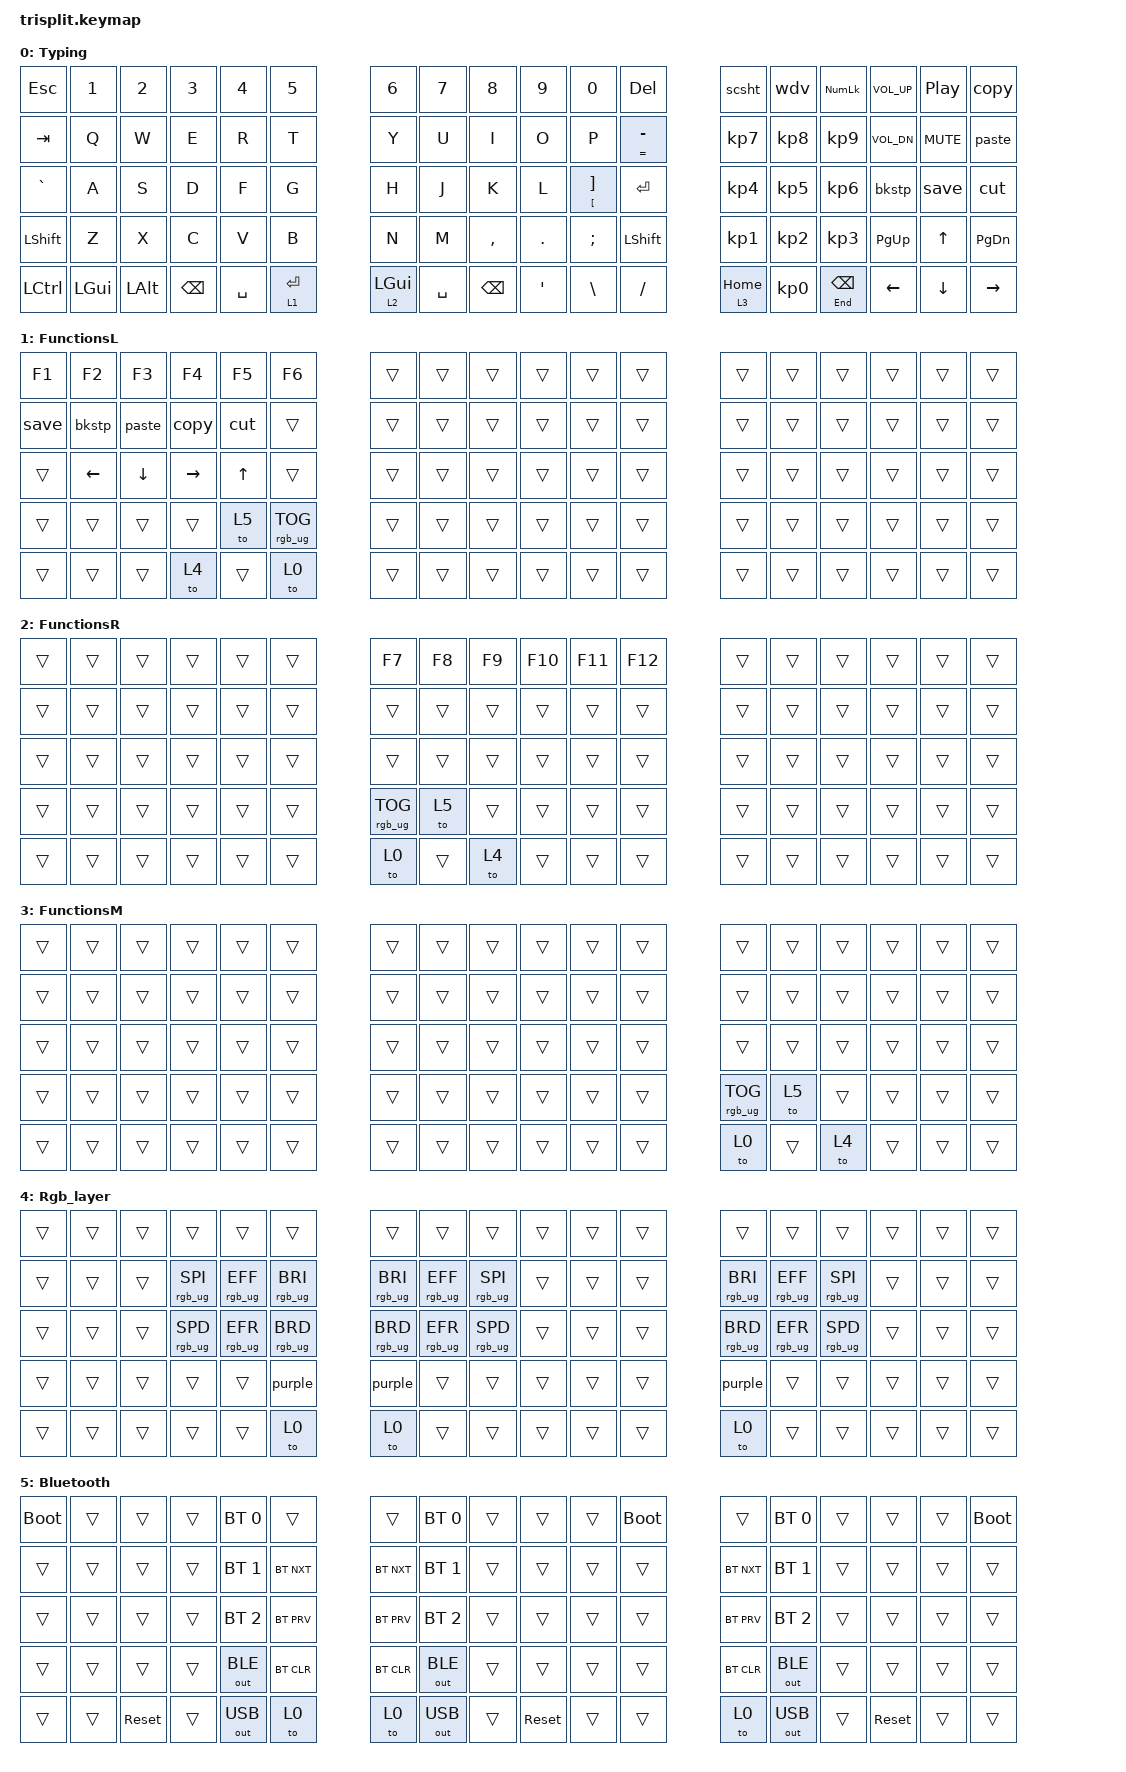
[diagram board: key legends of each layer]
// This file was generated from a template. Edit it to match your keyboard.
// See https://zmk.dev/docs/development/hardware-integration/new-shield for more instructions.
    // Define a default keymap here.
    // See https://zmk.dev/docs/development/hardware-integration/new-shield#default-keymap.
#include <behaviors.dtsi>
#include <dt-bindings/zmk/keys.h>
#include <dt-bindings/zmk/rgb.h>
#include <dt-bindings/zmk/bt.h>
#include <dt-bindings/zmk/outputs.h>
#include <dt-bindings/led/led.h>

#define DEFAULT 0

&pinctrl {
    spi3_default: spi3_default {
        group1 {
            psels = <NRF_PSEL(SPIM_MOSI, 0, 8)>;
        };
    };

    spi3_sleep: spi3_sleep {
        group1 {
            psels = <NRF_PSEL(SPIM_MOSI, 0, 8)>;
            low-power-enable;
        };
    };
};
&spi3 {
    compatible = "nordic,nrf-spim";
    status = "okay";
    pinctrl-0 = <&spi3_default>;
    pinctrl-1 = <&spi3_sleep>;
    pinctrl-names = "default", "sleep";

    led_strip: ws2812@0 {
        compatible = "worldsemi,ws2812-spi";

        /* SPI */
        reg = <0>; /* ignored, but necessary for SPI bindings */
        spi-max-frequency = <4000000>;

        /* WS2812 */
        chain-length = <30>; /* number of LEDs */
        spi-one-frame = <0x70>;
        spi-zero-frame = <0x40>;
        color-mapping = <LED_COLOR_ID_GREEN
                         LED_COLOR_ID_RED
                         LED_COLOR_ID_BLUE>;
    };
};

&lt {
    tapping-term-ms = <250>;
};
&led_strip {
    chain-length = <30>;
};
&mt {
tapping-term-ms = <250>;
};

/ {
    macros {
        scsht: scsht {
            compatible = "zmk,behavior-macro";
            #binding-cells = <0>;
            bindings
                = <&macro_press &kp LGUI>
                , <&macro_press &kp LSHFT>
                , <&macro_tap &kp S>
                , <&macro_release &kp LSHFT>
                , <&macro_release &kp LGUI>
                ;
        };
        wdv: wdv {
            compatible = "zmk,behavior-macro";
            #binding-cells = <0>;
            bindings
                = <&macro_press &kp LGUI>
                , <&macro_tap &kp W>
                , <&macro_release &kp LGUI>
                ;
        };
        copy: copy {
            compatible = "zmk,behavior-macro";
            #binding-cells = <0>;
            bindings
                = <&macro_press &kp LCTRL>
                , <&macro_tap &kp C>
                , <&macro_release &kp LCTRL>
                ;
        };
        paste: paste {
            compatible = "zmk,behavior-macro";
            #binding-cells = <0>;
            bindings
                = <&macro_press &kp LCTRL>
                , <&macro_tap &kp V>
                , <&macro_release &kp LCTRL>
                ;
        };
        cut: cut {
            compatible = "zmk,behavior-macro";
            #binding-cells = <0>;
            bindings
                = <&macro_press &kp LCTRL>
                , <&macro_tap &kp X>
                , <&macro_release &kp LCTRL>
                ;
        };
        save: save {
            compatible = "zmk,behavior-macro";
            #binding-cells = <0>;
            bindings
                = <&macro_press &kp LCTRL>
                , <&macro_tap &kp S>
                , <&macro_release &kp LCTRL>
                ;
        };
        bkstp: bkstp {
            compatible = "zmk,behavior-macro";
            #binding-cells = <0>;
            bindings
                = <&macro_press &kp LCTRL>
                , <&macro_tap &kp Z>
                , <&macro_release &kp LCTRL>
                ;
        };
        purple: purple {
            compatible = "zmk,behavior-macro";
            #binding-cells = <0>;
            bindings
                = <&macro_tap &rgb_ug RGB_COLOR_HSB(275, 100, 2)>
                ;
        };
    };

    keymap {
        compatible = "zmk,keymap";
        default_layer {//  layer0
            display-name = "Typing";
            bindings = < 
            //  LKey 1          |LKey 2         |LKey 3         |LKey 4         |LKey 5         |LKey 6         |RKey 1         |RKey 2         |RKey 3         |RKey 4         |RKey 5         |RKey 6         |MKey 1         |MKey 2         |MKey 3         |MKey 4         |MKey 5         |MKey 6
                &kp ESC         &kp N1          &kp N2          &kp N3          &kp N4          &kp N5          &kp N6          &kp N7          &kp N8          &kp N9          &kp N0          &kp DEL         &scsht          &wdv            &kp KP_NLCK     &kp C_VOL_UP    &kp C_PP        &copy
            //  LKey 7          |LKey 8         |LKey 9         |LKey 10        |LKey 11        |LKey 12        |RKey 7         |RKey 8         |RKey 9         |RKey 10        |RKey 11        |RKey 12        |MKey 7         |MKey 8         |MKey 9         |MKey 10        |MKey 11        |MKey 12
                &kp TAB         &kp Q           &kp W           &kp E           &kp R           &kp T           &kp Y           &kp U           &kp I           &kp O           &kp P           &mt EQUAL MINUS &kp KP_N7       &kp KP_N8       &kp KP_N9       &kp C_VOL_DN    &kp C_MUTE      &paste
            //  LKey 13         |LKey 14        |LKey 15        |LKey 16        |LKey 17        |LKey 18        |RKey 13        |RKey 14        |RKey 15        |RKey 16        |RKey 17        |RKey 18        |MKey 13        |MKey 14        |MKey 15        |MKey 16        |MKey 17        |MKey 18
                &kp GRAVE       &kp A           &kp S           &kp D           &kp F           &kp G           &kp H           &kp J           &kp K           &kp L           &mt LBKT RBKT   &kp ENTER       &kp KP_N4       &kp KP_N5       &kp KP_N6       &bkstp          &save           &cut
            //  LKey 19         |LKey 20        |LKey 21        |LKey 22        |LKey 23        |LKey 24        |RKey 19        |RKey 20        |RKey 21        |RKey 22        |RKey 23        |RKey 24        |MKey 19        |MKey 20        |MKey 21        |MKey 22        |MKey 23        |MKey 24
                &kp LSHIFT      &kp Z           &kp X           &kp C           &kp V           &kp B           &kp N           &kp M           &kp COMMA       &kp DOT         &kp SEMICOLON   &kp LSHIFT      &kp KP_N1       &kp KP_N2       &kp KP_N3       &kp PG_UP       &kp UP          &kp PG_DN
            //  LKey 25         |LKey 26        |LKey 27        |LKey 28        |LKey 29        |LKey 30        |RKey 25        |RKey 26        |RKey 27        |RKey 28        |RKey 29        |RKey 30        |MKey 25        |MKey 26        |MKey 27        |MKey 28        |MKey 29        |MKey 30 
                &kp LCTRL       &kp LEFT_GUI    &kp LEFT_ALT    &kp BACKSPACE   &kp SPACE       &lt 1 ENTER     &lt 2 LEFT_GUI  &kp SPACE       &kp BACKSPACE   &kp APOS        &kp BACKSLASH   &kp SLASH       &lt 3 HOME      &kp KP_N0     &mt END BACKSPACE &kp LEFT        &kp DOWN        &kp RIGHT
            >;
        };
        FunctionL_layer {//  layer1
            display-name = "FunctionsL";
            bindings = < 
            //  LKey 1          |LKey 2         |LKey 3         |LKey 4         |LKey 5         |LKey 6         |RKey 1         |RKey 2         |RKey 3         |RKey 4         |RKey 5         |RKey 6         |MKey 1         |MKey 2         |MKey 3         |MKey 4         |MKey 5         |MKey 6
                &kp F1          &kp F2          &kp F3          &kp F4          &kp F5          &kp F6          &trans          &trans          &trans          &trans          &trans          &trans          &trans          &trans          &trans          &trans          &trans          &trans
            //  LKey 7          |LKey 8         |LKey 9         |LKey 10        |LKey 11        |LKey 12        |RKey 7         |RKey 8         |RKey 9         |RKey 10        |RKey 11        |RKey 12        |MKey 7         |MKey 8         |MKey 9         |MKey 10        |MKey 11        |MKey 12
                &save           &bkstp          &paste          &copy           &cut            &trans          &trans          &trans          &trans          &trans          &trans          &trans          &trans          &trans          &trans          &trans          &trans          &trans
            //  LKey 13         |LKey 14        |LKey 15        |LKey 16        |LKey 17        |LKey 18        |RKey 13        |RKey 14        |RKey 15        |RKey 16        |RKey 17        |RKey 18        |MKey 13        |MKey 14        |MKey 15        |MKey 16        |MKey 17        |MKey 18
                &trans          &kp LEFT        &kp DOWN        &kp RIGHT       &kp UP          &trans          &trans          &trans          &trans          &trans          &trans          &trans          &trans          &trans          &trans          &trans          &trans          &trans
            //  LKey 19         |LKey 20        |LKey 21        |LKey 22        |LKey 23        |LKey 24        |RKey 19        |RKey 20        |RKey 21        |RKey 22        |RKey 23        |RKey 24        |MKey 19        |MKey 20        |MKey 21        |MKey 22        |MKey 23        |MKey 24
                &trans          &trans          &trans          &trans          &to 5           &rgb_ug RGB_TOG &trans          &trans          &trans          &trans          &trans          &trans          &trans          &trans          &trans          &trans          &trans          &trans
            //  LKey 25         |LKey 26        |LKey 27        |LKey 28        |LKey 29        |LKey 30        |RKey 25        |RKey 26        |RKey 27        |RKey 28        |RKey 29        |RKey 30        |MKey 25        |MKey 26        |MKey 27        |MKey 28        |MKey 29        |MKey 30 
                &trans          &trans          &trans          &to 4           &trans          &to 0           &trans          &trans          &trans          &trans          &trans          &trans          &trans          &trans          &trans          &trans          &trans          &trans
            >;
        };
        FunctionR_layer {//  layer2
            display-name = "FunctionsR";
            bindings = < 
            //  LKey 1          |LKey 2         |LKey 3         |LKey 4         |LKey 5         |LKey 6         |RKey 1         |RKey 2         |RKey 3         |RKey 4         |RKey 5         |RKey 6         |MKey 1         |MKey 2         |MKey 3         |MKey 4         |MKey 5         |MKey 6
                &trans          &trans          &trans          &trans          &trans          &trans          &kp F7          &kp F8          &kp F9          &kp F10         &kp F11         &kp F12         &trans          &trans          &trans          &trans          &trans          &trans
            //  LKey 7          |LKey 8         |LKey 9         |LKey 10        |LKey 11        |LKey 12        |RKey 7         |RKey 8         |RKey 9         |RKey 10        |RKey 11        |RKey 12        |MKey 7         |MKey 8         |MKey 9         |MKey 10        |MKey 11        |MKey 12
                &trans          &trans          &trans          &trans          &trans          &trans          &trans          &trans          &trans          &trans          &trans          &trans          &trans          &trans          &trans          &trans          &trans          &trans
            //  LKey 13         |LKey 14        |LKey 15        |LKey 16        |LKey 17        |LKey 18        |RKey 13        |RKey 14        |RKey 15        |RKey 16        |RKey 17        |RKey 18        |MKey 13        |MKey 14        |MKey 15        |MKey 16        |MKey 17        |MKey 18
                &trans          &trans          &trans          &trans          &trans          &trans          &trans          &trans          &trans          &trans          &trans          &trans          &trans          &trans          &trans          &trans          &trans          &trans
            //  LKey 19         |LKey 20        |LKey 21        |LKey 22        |LKey 23        |LKey 24        |RKey 19        |RKey 20        |RKey 21        |RKey 22        |RKey 23        |RKey 24        |MKey 19        |MKey 20        |MKey 21        |MKey 22        |MKey 23        |MKey 24
                &trans          &trans          &trans          &trans          &trans          &trans          &rgb_ug RGB_TOG &to 5           &trans          &trans          &trans          &trans          &trans          &trans          &trans          &trans          &trans          &trans
            //  LKey 25         |LKey 26        |LKey 27        |LKey 28        |LKey 29        |LKey 30        |RKey 25        |RKey 26        |RKey 27        |RKey 28        |RKey 29        |RKey 30        |MKey 25        |MKey 26        |MKey 27        |MKey 28        |MKey 29        |MKey 30 
                &trans          &trans          &trans          &trans          &trans          &trans          &to 0           &trans          &to 4           &trans          &trans          &trans          &trans          &trans          &trans          &trans          &trans          &trans
            >;
        };
        FunctionM_layer {//  layer3
            display-name = "FunctionsM";
            bindings = < 
            //  LKey 1          |LKey 2         |LKey 3         |LKey 4         |LKey 5         |LKey 6         |RKey 1         |RKey 2         |RKey 3         |RKey 4         |RKey 5         |RKey 6         |MKey 1         |MKey 2         |MKey 3         |MKey 4         |MKey 5         |MKey 6
                &trans          &trans          &trans          &trans          &trans          &trans          &trans          &trans          &trans          &trans          &trans          &trans          &trans          &trans          &trans          &trans          &trans          &trans
            //  LKey 7          |LKey 8         |LKey 9         |LKey 10        |LKey 11        |LKey 12        |RKey 7         |RKey 8         |RKey 9         |RKey 10        |RKey 11        |RKey 12        |MKey 7         |MKey 8         |MKey 9         |MKey 10        |MKey 11        |MKey 12
                &trans          &trans          &trans          &trans          &trans          &trans          &trans          &trans          &trans          &trans          &trans          &trans          &trans          &trans          &trans          &trans          &trans          &trans
            //  LKey 13         |LKey 14        |LKey 15        |LKey 16        |LKey 17        |LKey 18        |RKey 13        |RKey 14        |RKey 15        |RKey 16        |RKey 17        |RKey 18        |MKey 13        |MKey 14        |MKey 15        |MKey 16        |MKey 17        |MKey 18
                &trans          &trans          &trans          &trans          &trans          &trans          &trans          &trans          &trans          &trans          &trans          &trans          &trans          &trans          &trans          &trans          &trans          &trans
            //  LKey 19         |LKey 20        |LKey 21        |LKey 22        |LKey 23        |LKey 24        |RKey 19        |RKey 20        |RKey 21        |RKey 22        |RKey 23        |RKey 24        |MKey 19        |MKey 20        |MKey 21        |MKey 22        |MKey 23        |MKey 24
                &trans          &trans          &trans          &trans          &trans          &trans          &trans          &trans          &trans          &trans          &trans          &trans          &rgb_ug RGB_TOG &to 5           &trans          &trans          &trans          &trans
            //  LKey 25         |LKey 26        |LKey 27        |LKey 28        |LKey 29        |LKey 30        |RKey 25        |RKey 26        |RKey 27        |RKey 28        |RKey 29        |RKey 30        |MKey 25        |MKey 26        |MKey 27        |MKey 28        |MKey 29        |MKey 30 
                &trans          &trans          &trans          &trans          &trans          &trans          &trans          &trans          &trans          &trans          &trans          &trans          &to 0           &trans          &to 4           &trans          &trans          &trans          
            >;
        };
        Rgb_layer {//  layer4
            display-name = "Rgb_layer";
            bindings = < 
            //  LKey 1          |LKey 2         |LKey 3         |LKey 4         |LKey 5         |LKey 6         |RKey 1         |RKey 2         |RKey 3         |RKey 4         |RKey 5         |RKey 6         |MKey 1         |MKey 2         |MKey 3         |MKey 4         |MKey 5         |MKey 6
                &trans          &trans          &trans          &trans          &trans          &trans          &trans          &trans          &trans          &trans          &trans          &trans          &trans          &trans          &trans          &trans          &trans          &trans
            //  LKey 7          |LKey 8         |LKey 9         |LKey 10        |LKey 11        |LKey 12        |RKey 7         |RKey 8         |RKey 9         |RKey 10        |RKey 11        |RKey 12        |MKey 7         |MKey 8         |MKey 9         |MKey 10        |MKey 11        |MKey 12
                &trans          &trans          &trans          &rgb_ug RGB_SPI &rgb_ug RGB_EFF &rgb_ug RGB_BRI &rgb_ug RGB_BRI &rgb_ug RGB_EFF &rgb_ug RGB_SPI &trans          &trans          &trans          &rgb_ug RGB_BRI &rgb_ug RGB_EFF &rgb_ug RGB_SPI &trans          &trans          &trans
            //  LKey 13         |LKey 14        |LKey 15        |LKey 16        |LKey 17        |LKey 18        |RKey 13        |RKey 14        |RKey 15        |RKey 16        |RKey 17        |RKey 18        |MKey 13        |MKey 14        |MKey 15        |MKey 16        |MKey 17        |MKey 18
                &trans          &trans          &trans          &rgb_ug RGB_SPD &rgb_ug RGB_EFR &rgb_ug RGB_BRD &rgb_ug RGB_BRD &rgb_ug RGB_EFR &rgb_ug RGB_SPD &trans          &trans          &trans          &rgb_ug RGB_BRD &rgb_ug RGB_EFR &rgb_ug RGB_SPD &trans          &trans          &trans
            //  LKey 19         |LKey 20        |LKey 21        |LKey 22        |LKey 23        |LKey 24        |RKey 19        |RKey 20        |RKey 21        |RKey 22        |RKey 23        |RKey 24        |MKey 19        |MKey 20        |MKey 21        |MKey 22        |MKey 23        |MKey 24
                &trans          &trans          &trans          &trans          &trans          &purple         &purple         &trans          &trans          &trans          &trans          &trans          &purple         &trans          &trans          &trans          &trans          &trans
            //  LKey 25         |LKey 26        |LKey 27        |LKey 28        |LKey 29        |LKey 30        |RKey 25        |RKey 26        |RKey 27        |RKey 28        |RKey 29        |RKey 30        |MKey 25        |MKey 26        |MKey 27        |MKey 28        |MKey 29        |MKey 30 
                &trans          &trans          &trans          &trans          &trans          &to 0           &to 0           &trans          &trans          &trans          &trans          &trans          &to 0           &trans          &trans          &trans          &trans          &trans
            >;
        };
        Bluetooth_layer {//  layer5
            display-name = "Bluetooth";
            bindings = < 
            //  LKey 1          |LKey 2         |LKey 3         |LKey 4         |LKey 5         |LKey 6         |RKey 1         |RKey 2         |RKey 3         |RKey 4         |RKey 5         |RKey 6         |MKey 1         |MKey 2         |MKey 3         |MKey 4         |MKey 5         |MKey 6
                &bootloader     &trans          &trans          &trans          &bt BT_SEL 0    &trans          &trans          &bt BT_SEL 0    &trans          &trans          &trans          &bootloader     &trans          &bt BT_SEL 0    &trans          &trans          &trans          &bootloader
            //  LKey 7          |LKey 8         |LKey 9         |LKey 10        |LKey 11        |LKey 12        |RKey 7         |RKey 8         |RKey 9         |RKey 10        |RKey 11        |RKey 12        |MKey 7         |MKey 8         |MKey 9         |MKey 10        |MKey 11        |MKey 12
                &trans          &trans          &trans          &trans          &bt BT_SEL 1    &bt BT_NXT      &bt BT_NXT      &bt BT_SEL 1    &trans          &trans          &trans          &trans          &bt BT_NXT      &bt BT_SEL 1    &trans          &trans          &trans          &trans
            //  LKey 13         |LKey 14        |LKey 15        |LKey 16        |LKey 17        |LKey 18        |RKey 13        |RKey 14        |RKey 15        |RKey 16        |RKey 17        |RKey 18        |MKey 13        |MKey 14        |MKey 15        |MKey 16        |MKey 17        |MKey 18
                &trans          &trans          &trans          &trans          &bt BT_SEL 2    &bt BT_PRV      &bt BT_PRV      &bt BT_SEL 2    &trans          &trans          &trans          &trans          &bt BT_PRV      &bt BT_SEL 2    &trans          &trans          &trans          &trans
            //  LKey 19         |LKey 20        |LKey 21        |LKey 22        |LKey 23        |LKey 24        |RKey 19        |RKey 20        |RKey 21        |RKey 22        |RKey 23        |RKey 24        |MKey 19        |MKey 20        |MKey 21        |MKey 22        |MKey 23        |MKey 24
                &trans          &trans          &trans          &trans          &out OUT_BLE    &bt BT_CLR      &bt BT_CLR      &out OUT_BLE    &trans          &trans          &trans          &trans          &bt BT_CLR      &out OUT_BLE    &trans          &trans          &trans          &trans
            //  LKey 25         |LKey 26        |LKey 27        |LKey 28        |LKey 29        |LKey 30        |RKey 25        |RKey 26        |RKey 27        |RKey 28        |RKey 29        |RKey 30        |MKey 25        |MKey 26        |MKey 27        |MKey 28        |MKey 29        |MKey 30 
                &trans          &trans          &sys_reset      &trans          &out OUT_USB    &to 0           &to 0           &out OUT_USB    &trans          &sys_reset      &trans          &trans          &to 0           &out OUT_USB    &trans          &sys_reset      &trans          &trans
            >;
        };
    };
};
